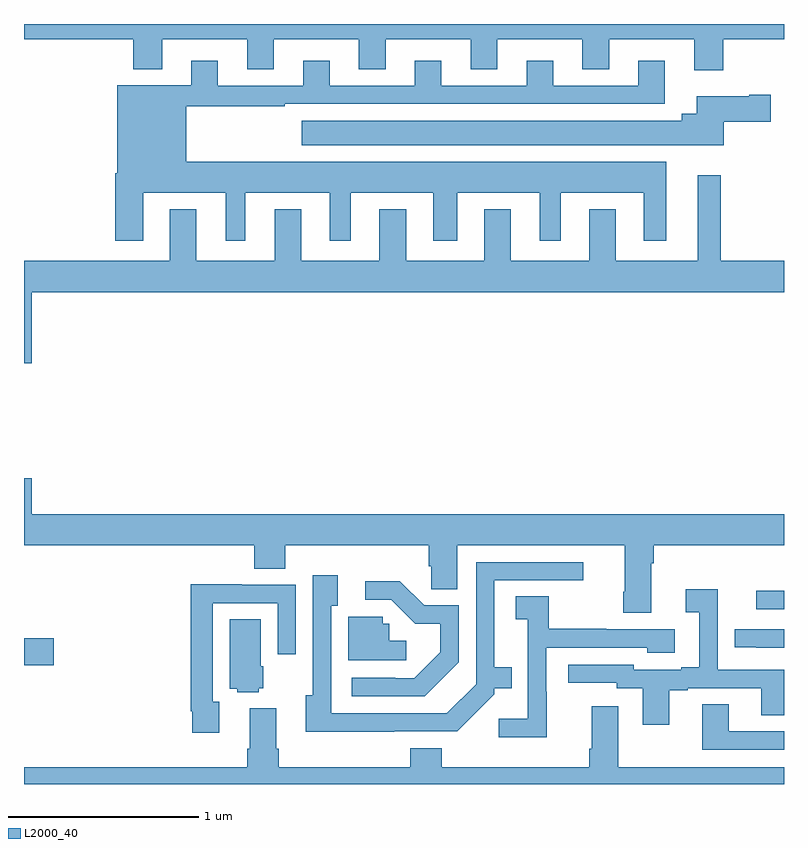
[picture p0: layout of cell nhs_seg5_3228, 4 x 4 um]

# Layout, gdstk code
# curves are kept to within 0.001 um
import gdstk
lib = gdstk.Library(unit=1e-6, precision=1e-09)
def R(c, l, rs):  # rectangles x0, y0, x1, y1
    for r in rs: c.add(gdstk.rectangle(r[:2], r[2:], *l))
def P(c, l, *ps):  # polygons
    for p in ps: c.add(gdstk.Polygon(p, *l))
L2000_40 = (2000, 40)

nhs_seg5_3228 = lib.new_cell('nhs_seg5_3228')
R(nhs_seg5_3228, L2000_40, [(297,893.423,297.157,893.565), (300.855,893.718,301,893.817)])
P(nhs_seg5_3228, L2000_40, [(300.68,896.72),(301,896.72),(301,896.799),(297,896.799),(297,896.72),(297.575,896.72),(297.575,896.561),(297.727,896.561),(297.727,896.72),(298.175,896.72),(298.175,896.56),(298.315,896.56),(298.315,896.72),(298.763,896.72),(298.763,896.56),(298.903,896.56),(298.903,896.72),(299.351,896.72),(299.351,896.56),(299.491,896.56),(299.491,896.72),(299.939,896.72),(299.939,896.56),(300.079,896.56),(300.079,896.72),(300.527,896.72),(300.527,896.556),(300.68,896.556)],
  [(297.628,895.91),(298.061,895.91),(298.061,895.659),(298.165,895.659),(298.165,895.91),(298.61,895.91),(298.61,895.659),(298.72,895.659),(298.72,895.91),(299.153,895.91),(299.153,895.659),(299.281,895.659),(299.281,895.91),(299.714,895.91),(299.714,895.659),(299.824,895.659),(299.824,895.91),(300.263,895.91),(300.263,895.659),(300.379,895.659),(300.379,896.074),(297.853,896.074),(297.853,896.367),(298.373,896.367),(298.373,896.379),(300.373,896.379),(300.373,896.605),(300.233,896.605),(300.233,896.475),(299.785,896.475),(299.785,896.605),(299.645,896.605),(299.645,896.475),(299.197,896.475),(299.197,896.605),(299.057,896.605),(299.057,896.475),(298.609,896.475),(298.609,896.605),(298.469,896.605),(298.469,896.475),(298.021,896.475),(298.021,896.605),(297.881,896.605),(297.881,896.476),(297.491,896.476),(297.491,896.014),(297.479,896.014),(297.479,895.659),(297.628,895.659)],
  [(300.682,896.285),(300.931,896.285),(300.931,896.427),(300.818,896.427),(300.818,896.419),(300.542,896.419),(300.542,896.326),(300.461,896.326),(300.461,896.29),(298.461,896.29),(298.461,896.162),(300.682,896.162)],
  [(301,895.552),(300.667,895.552),(300.667,896.002),(300.545,896.002),(300.545,895.552),(300.115,895.552),(300.115,895.825),(299.975,895.825),(299.975,895.552),(299.563,895.552),(299.563,895.825),(299.423,895.825),(299.423,895.552),(299.011,895.552),(299.011,895.825),(298.871,895.825),(298.871,895.552),(298.459,895.552),(298.459,895.825),(298.319,895.825),(298.319,895.552),(297.907,895.552),(297.907,895.825),(297.767,895.825),(297.767,895.552),(297,895.552),(297,895.014),(297.04,895.014),(297.04,895.388),(301,895.388)],
  [(300.301,893.96),(300.314,893.96),(300.314,894.056),(301,894.056),(301,894.22),(297.04,894.22),(297.04,894.409),(297,894.409),(297,894.056),(298.211,894.056),(298.211,893.932),(298.376,893.932),(298.376,894.056),(299.129,894.056),(299.129,893.946),(299.143,893.946),(299.143,893.824),(299.281,893.824),(299.281,894.056),(300.161,894.056),(300.161,893.812),(300.154,893.812),(300.154,893.7),(300.301,893.7)],
  [(298.949,893.076),(299.28,893.076),(299.475,893.271),(299.475,893.303),(299.567,893.303),(299.567,893.413),(299.476,893.413),(299.476,893.871),(299.944,893.871),(299.944,893.967),(299.379,893.967),(299.379,893.325),(299.226,893.172),(298.617,893.172),(298.617,893.738),(298.651,893.738),(298.651,893.899),(298.521,893.899),(298.521,893.266),(298.484,893.266),(298.484,893.075)],
  [(299.289,893.441),(299.289,893.739),(299.106,893.739),(298.978,893.867),(298.797,893.867),(298.797,893.769),(298.932,893.769),(299.059,893.642),(299.192,893.642),(299.192,893.492),(299.055,893.355),(298.955,893.355),(298.955,893.358),(298.725,893.358),(298.725,893.262),(299.11,893.262)],
  [(298.027,893.231),(297.993,893.231),(297.993,893.751),(298.335,893.751),(298.335,893.481),(298.431,893.481),(298.431,893.847),(298.147,893.847),(298.147,893.851),(297.877,893.851),(297.877,893.182),(297.885,893.182),(297.885,893.07),(298.027,893.07)],
  [(300.397,893.292),(300.493,893.292),(300.493,893.304),(300.881,893.304),(300.881,893.161),(301,893.161),(301,893.4),(300.651,893.4),(300.651,893.824),(300.483,893.824),(300.483,893.704),(300.554,893.704),(300.554,893.413),(300.458,893.413),(300.458,893.4),(300.21,893.4),(300.21,893.427),(299.865,893.427),(299.865,893.331),(300.12,893.331),(300.12,893.304),(300.257,893.304),(300.257,893.112),(300.397,893.112)],
  [(299.751,893.285),(299.748,893.285),(299.748,893.517),(300.279,893.517),(300.279,893.489),(300.424,893.489),(300.424,893.613),(300.065,893.613),(300.065,893.616),(299.761,893.616),(299.761,893.786),(299.589,893.786),(299.589,893.665),(299.652,893.665),(299.652,893.143),(299.499,893.143),(299.499,893.045),(299.751,893.045)],
  [(299.011,893.554),(298.923,893.554),(298.923,893.643),(298.887,893.643),(298.887,893.679),(298.706,893.679),(298.706,893.451),(299.011,893.451)],
  [(298.236,893.304),(298.258,893.304),(298.258,893.418),(298.246,893.418),(298.246,893.666),(298.082,893.666),(298.082,893.3),(298.122,893.3),(298.122,893.282),(298.236,893.282)],
  [(301,893.613),(300.741,893.613),(300.741,893.518),(300.853,893.518),(300.853,893.517),(301,893.517)],
  [(301,893.076),(300.709,893.076),(300.709,893.219),(300.569,893.219),(300.569,892.98),(301,892.98)],
  [(301,892.888),(300.127,892.888),(300.127,893.209),(299.987,893.209),(299.987,892.984),(299.975,892.984),(299.975,892.888),(299.198,892.888),(299.198,892.987),(299.033,892.987),(299.033,892.888),(298.34,892.888),(298.34,892.984),(298.327,892.984),(298.327,893.197),(298.187,893.197),(298.187,892.984),(298.175,892.984),(298.175,892.888),(297,892.888),(297,892.799),(301,892.799)])

lib.write_gds('nhs_seg5_3228.gds')
